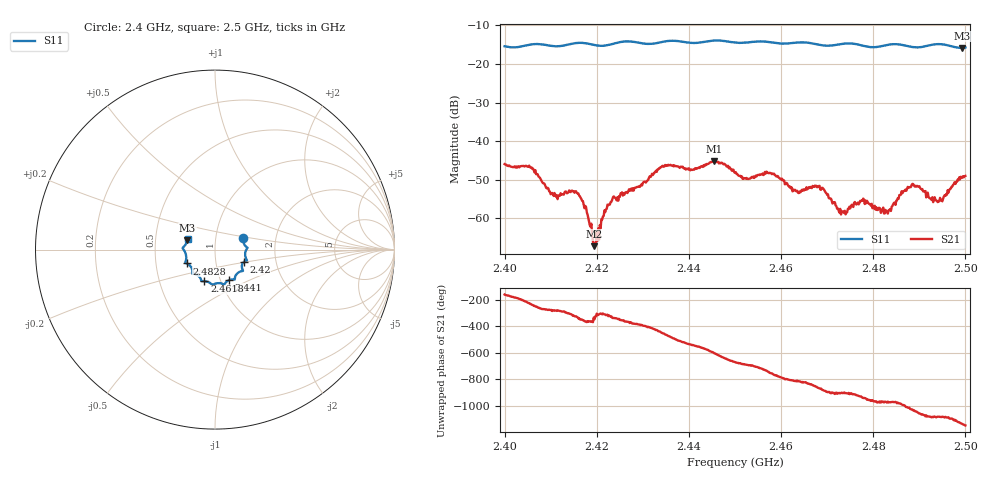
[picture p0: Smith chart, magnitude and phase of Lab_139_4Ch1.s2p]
# Hz S RI R 50
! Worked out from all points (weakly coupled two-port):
!   601 points, 2.4 GHz to 2.5 GHz, reference 50 ohm
!   highest |S21| = -45.13 dB at 2.4455 GHz (marker M1); lowest = -67.2 dB at 2.4193 GHz (marker M2)
!   lowest |S11| = -15.8 dB at 2.4993 GHz (marker M3), VSWR 1.39, Z = 36.5 + j3.87 ohm
!   |S11| at or under -10 dB: start of sweep to end of sweep
!   S12 and S22 are empty: the file has one direction only
!   S11 on the Smith chart (normalised r, x): 2.4 GHz: 1.36, +0.18; 2.42 GHz: 1.36, -0.20; 2.441 GHz: 1.10, -0.39; 2.4618 GHz: 0.84, -0.30; 2.4828 GHz: 0.72, -0.11; 2.5 GHz: 0.73, +0.09
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2.4e9  0.1573 0.0631  -0.00477 -0.00165  0 0  0 0
2.405667e9  0.1784 0.0125  -0.0028 0.00361  0 0  0 0
2.410167e9  0.171 -0.00755  0.00026 0.00207  0 0  0 0
2.416667e9  0.1778 -0.0602  0.00176 0.000286  0 0  0 0
2.419333e9  0.1641 -0.0657  0.000394 0.000188  0 0  0 0
2.42e9  0.1594 -0.0696  0.000391 0.000547  0 0  0 0
2.4235e9  0.1506 -0.1023  0.00174 0.000672  0 0  0 0
2.433333e9  0.1121 -0.151  0.000908 -0.0042  0 0  0 0
2.441e9  0.0784 -0.1697  -0.00428 0.000319  0 0  0 0
2.4455e9  0.0519 -0.1943  -0.00236 0.00501  0 0  0 0
2.45e9  0.0285 -0.1872  0.0026 0.0029  0 0  0 0
2.458e9  -0.0246 -0.1882  0.003 -0.00223  0 0  0 0
2.461833e9  -0.0593 -0.1757  0.000175 -0.00252  0 0  0 0
2.466667e9  -0.0779 -0.1682  -0.00128 -0.00211  0 0  0 0
2.4735e9  -0.1231 -0.135  -0.00122 0.000113  0 0  0 0
2.4775e9  -0.1258 -0.1201  -0.00139 0.00098  0 0  0 0
2.482833e9  -0.1577 -0.0773  -0.000369 0.00118  0 0  0 0
2.483333e9  -0.1608 -0.0759  -0.000302 0.00124  0 0  0 0
2.488167e9  -0.1602 -0.0473  0.00155 0.00201  0 0  0 0
2.4945e9  -0.1804 0.00977  0.00183 -0.000208  0 0  0 0
2.499333e9  -0.1533 0.0515  0.00173 -0.00288  0 0  0 0
2.5e9  -0.1517 0.061  0.00121 -0.00334  0 0  0 0
